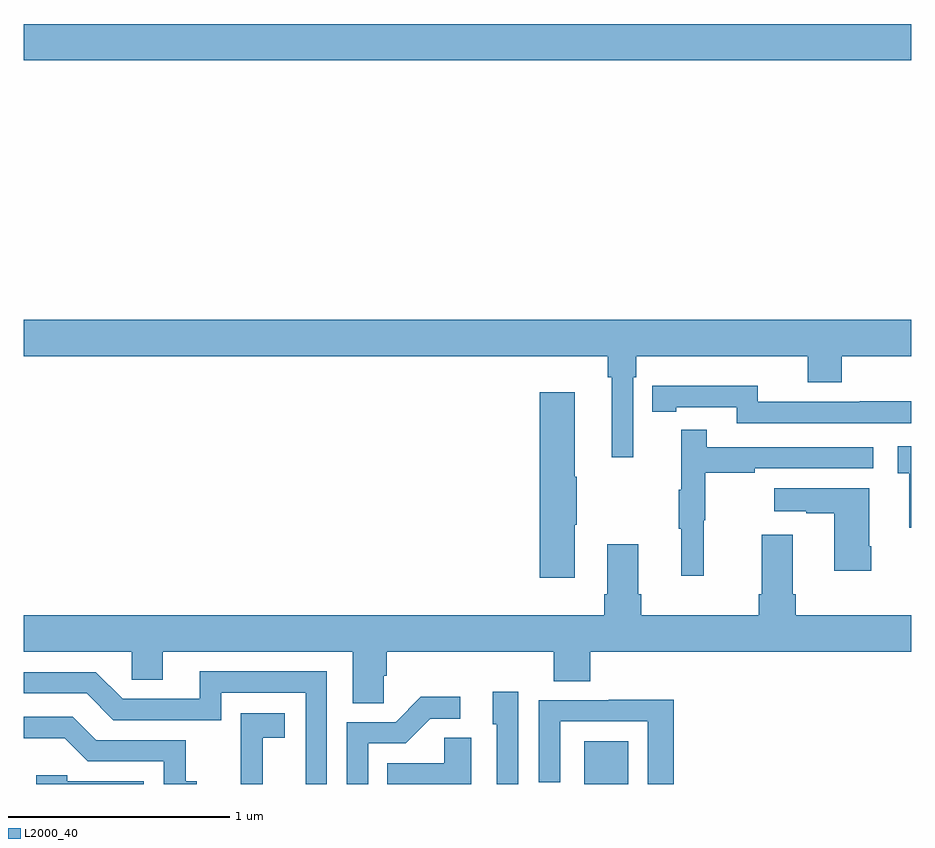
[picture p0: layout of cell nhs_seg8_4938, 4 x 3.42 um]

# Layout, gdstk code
import gdstk
lib = gdstk.Library(unit=1e-6, precision=1e-09)
def R(c, l, rs):  # rectangles x0, y0, x1, y1
    for r in rs: c.add(gdstk.rectangle(r[:2], r[2:], *l))
def P(c, l, *ps):  # polygons
    for p in ps: c.add(gdstk.Polygon(p, *l))
L2000_40 = (2000, 40)

nhs_seg8_4938 = lib.new_cell('nhs_seg8_4938')
R(nhs_seg8_4938, L2000_40, [(411.527,1119.9,411.724,1120.093), (409,1123.16,413,1123.324)])
P(nhs_seg8_4938, L2000_40, [(411.747,1121.732),(411.761,1121.732),(411.761,1121.828),(412.532,1121.828),(412.532,1121.711),(412.685,1121.711),(412.685,1121.828),(413,1121.828),(413,1121.992),(409,1121.992),(409,1121.828),(411.631,1121.828),(411.631,1121.732),(411.65,1121.732),(411.65,1121.373),(411.747,1121.373)],
  [(413,1121.624),(412.768,1121.624),(412.768,1121.622),(412.308,1121.622),(412.308,1121.695),(411.94,1121.695),(411.94,1121.694),(411.832,1121.694),(411.832,1121.578),(411.94,1121.578),(411.94,1121.598),(412.212,1121.598),(412.212,1121.526),(413,1121.526)],
  [(411.484,1121.068),(411.492,1121.068),(411.492,1121.285),(411.484,1121.285),(411.484,1121.665),(411.326,1121.665),(411.326,1120.83),(411.484,1120.83)],
  [(412.064,1121.088),(412.072,1121.088),(412.072,1121.302),(412.295,1121.302),(412.295,1121.322),(412.828,1121.322),(412.828,1121.418),(412.079,1121.418),(412.079,1121.497),(411.962,1121.497),(411.962,1121.225),(411.951,1121.225),(411.951,1121.051),(411.962,1121.051),(411.962,1120.839),(412.064,1120.839)],
  [(413,1121.422),(412.938,1121.422),(412.938,1121.301),(412.991,1121.301),(412.991,1121.055),(413,1121.055)],
  [(412.818,1120.972),(412.81,1120.972),(412.81,1121.233),(412.383,1121.233),(412.383,1121.129),(412.526,1121.129),(412.526,1121.119),(412.652,1121.119),(412.652,1120.86),(412.818,1120.86)],
  [(410.622,1120.387),(410.636,1120.387),(410.636,1120.496),(411.389,1120.496),(411.389,1120.363),(411.554,1120.363),(411.554,1120.496),(413,1120.496),(413,1120.66),(412.478,1120.66),(412.478,1120.756),(412.465,1120.756),(412.465,1121.023),(412.325,1121.023),(412.325,1120.756),(412.313,1120.756),(412.313,1120.66),(411.782,1120.66),(411.782,1120.756),(411.769,1120.756),(411.769,1120.981),(411.629,1120.981),(411.629,1120.756),(411.617,1120.756),(411.617,1120.66),(409,1120.66),(409,1120.496),(409.488,1120.496),(409.488,1120.369),(409.627,1120.369),(409.627,1120.496),(410.483,1120.496),(410.483,1120.264),(410.622,1120.264)],
  [(410.367,1120.407),(409.793,1120.407),(409.793,1120.284),(409.446,1120.284),(409.326,1120.404),(409,1120.404),(409,1120.308),(409.284,1120.308),(409.404,1120.188),(409.89,1120.188),(409.89,1120.311),(410.271,1120.311),(410.271,1119.9),(410.367,1119.9)],
  [(411.228,1120.315),(411.113,1120.315),(411.113,1120.17),(411.132,1120.17),(411.132,1119.9),(411.228,1119.9)],
  [(410.553,1120.083),(410.722,1120.083),(410.833,1120.194),(410.968,1120.194),(410.968,1120.292),(410.789,1120.292),(410.676,1120.179),(410.457,1120.179),(410.457,1119.9),(410.553,1119.9)],
  [(411.929,1120.28),(411.637,1120.28),(411.637,1120.278),(411.321,1120.278),(411.321,1119.909),(411.417,1119.909),(411.417,1120.182),(411.813,1120.182),(411.813,1119.9),(411.929,1119.9)],
  [(410.078,1120.109),(410.176,1120.109),(410.176,1120.219),(409.978,1120.219),(409.978,1120.013),(409.979,1120.013),(409.979,1119.9),(410.078,1119.9)],
  [(409.78,1119.913),(409.731,1119.913),(409.731,1120.098),(409.327,1120.098),(409.222,1120.203),(409,1120.203),(409,1120.106),(409.186,1120.106),(409.29,1120.002),(409.632,1120.002),(409.632,1119.9),(409.78,1119.9)],
  [(411.016,1120.109),(410.895,1120.109),(410.895,1119.994),(410.638,1119.994),(410.638,1119.9),(411.016,1119.9)],
  [(409.542,1119.912),(409.197,1119.912),(409.197,1119.939),(409.057,1119.939),(409.057,1119.9),(409.542,1119.9)])

lib.write_gds('nhs_seg8_4938.gds')
